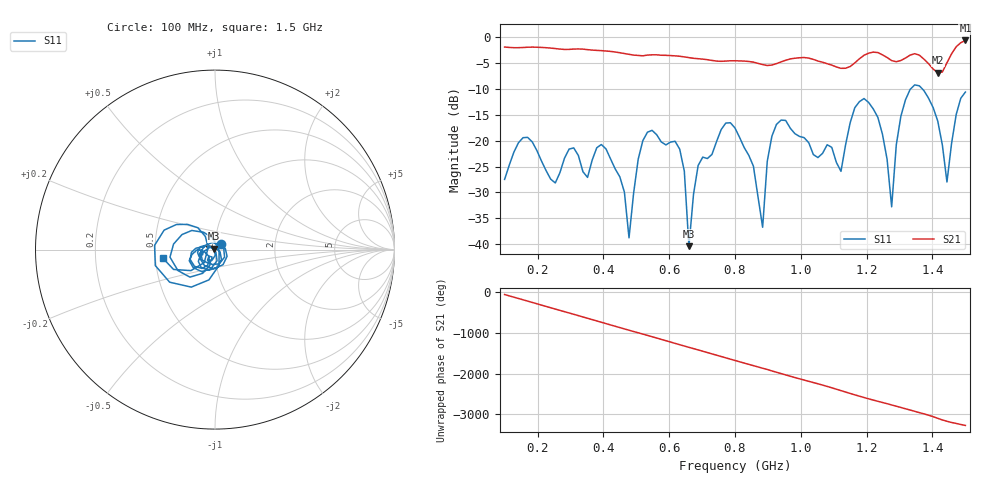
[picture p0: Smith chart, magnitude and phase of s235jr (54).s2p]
! NanoVNA-App
! Date: 2025-09-25 15:04:35
! Start: 100MHz Stop: 1,5GHz Points: 101
! S-Parameter data: F S11 S21 S12 S22
# Hz S RI R 50
!  Frequency  S11_Real  S11_Imag  S21_Real  S21_Imag  S12_Real  S12_Imag  S22_Real  S22_Imag
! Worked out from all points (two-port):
!   101 points, 100 MHz to 1.5 GHz, reference 50 ohm
!   highest |S21| = -0.69 dB at 1.5 GHz (marker M1); lowest = -6.9 dB at 1.416 GHz (marker M2)
!   |S21| within 3 dB of the highest: start of sweep to 623.8 MHz; 1.189 GHz to 1.254 GHz (65.14 MHz wide, 5.33 % of centre) (the widest 2 of 4)
!   lowest |S11| = -40.4 dB at 660 MHz (marker M3), VSWR 1.02, Z = 49.2 + j0.56 ohm
!   |S11| at or under -10 dB: start of sweep to 1.334 GHz; 1.369 GHz to end of sweep
!   S12 and S22 are empty: the file has one direction only
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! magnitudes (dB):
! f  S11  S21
! 100 MHz  -27.5  -2.0
! 156 MHz  -19.4  -2.1
! 338 MHz  -26.0  -2.4
! 408 MHz  -21.6  -2.7
! 478 MHz  -38.8  -3.4
! 520 MHz  -20.0  -3.6
! 576 MHz  -20.3  -3.5
! 632 MHz  -21.7  -3.7
! 660 MHz  -40.4  -4.0
! 688 MHz  -24.8  -4.2
! 800 MHz  -17.6  -4.6
! 884 MHz  -36.7  -5.3
! 926 MHz  -16.9  -5.2
! 1.038 GHz  -22.7  -4.3
! 1.122 GHz  -25.9  -6.1
! 1.192 GHz  -11.9  -3.5
! 1.248 GHz  -18.8  -3.5
! 1.276 GHz  -32.8  -4.6
! 1.332 GHz  -10.1  -3.5
! 1.416 GHz  -16.2  -6.9
! 1.444 GHz  -28.0  -5.0
! 1.5 GHz  -10.6  -0.7
